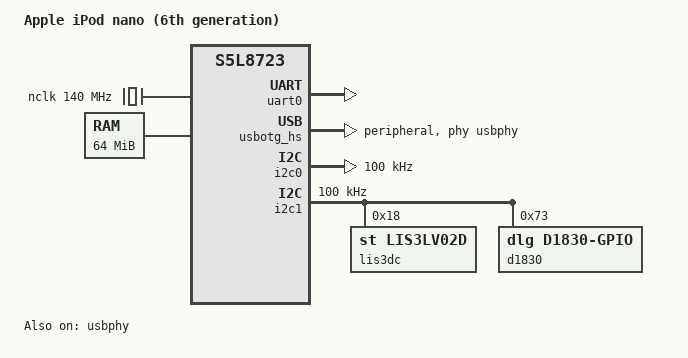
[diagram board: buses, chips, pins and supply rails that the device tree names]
// SPDX-License-Identifier: GPL-2.0+
/*
 * Apple S5L8723 SoC
 * Board name: N20
 * Product name: iPod nano (6th generation)
 */
/dts-v1/;

#include <dt-bindings/input/input.h>
#include <dt-bindings/gpio/gpio.h>
#include <dt-bindings/clock/samsung,s5l8702-clock.h>

/ {
    #address-cells = <1>;
    #size-cells = <1>;
    model = "Apple iPod nano (6th generation)";
    compatible = "apple,n20", "samsung,s5l8723";

    aliases {
        serial0 = &uart0;
        console = &uart0;
    };

    chosen {
        stdout-path = "serial0";
    };

    nclk: external_clock {
        compatible = "fixed-clock";
        #clock-cells = <0>;
        clock-frequency = <140000000>;
        clock-output-names = "nclk";
    };

    // pclk: clock-ref {
    //     compatible = "fixed-clock";
    //     #clock-cells = <0>;
    //     clock-frequency = <6000000>;
    //     clock-output-names = "pclk";
    // };

    cpus {
        #address-cells = <1>;
        #size-cells = <0>;

        cpu@0 {
            device_type = "cpu";
            reg = <0>;
            compatible = "arm,arm1176jzf-s";
        };
    };

    memory@8000000 {
        device_type = "memory";
        reg = <0x08000000 0x04000000>;
    };

    soc {
        compatible = "simple-bus";
        #address-cells = <1>;
        #size-cells = <1>;
        ranges;

        vic0: interrupt-controller@38e00000 {
            compatible = "arm,pl192-vic";
            interrupt-controller;
            reg = <0x38e00000 0x1000>;
            #interrupt-cells = <1>;
        };

        vic1: interrupt-controller@38e01000 {
            compatible = "arm,pl192-vic";
            interrupt-controller;
            reg = <0x38e01000 0x1000>;
            #interrupt-cells = <1>;
        };

        timer: timer@3c700000 {
            compatible = "samsung,s5l8720-timer";
            reg = <0x3c700000 0x20000>;
            interrupt-parent = <&vic0>;
            interrupts = <7>;
        };

        uart0: serial@3cc00000 {
            compatible = "apple,s5l-uart";
            reg = <0x3cc00000 0x3c>;
            clocks = <&nclk>, <&nclk>;
            clock-names = "uart", "clk_uart_baud0";
            reg-io-width = <4>;
            interrupt-parent = <&vic0>;
            interrupts = <24>;
            status = "okay";
        };

        usbphy: usbphy@3c400000 {
            compatible = "apple,s5l8702-otgphy";
            reg = <0x3c400000 0x100>;
            status = "okay";
            #phy-cells = <0>;
        };

        usbotg_hs: usb@38400000 {
            compatible = "apple,s5l87xx-usb";
            reg = <0x38400000 0x40000>;
            interrupt-parent = <&vic0>;
            interrupts = <19>;
            phys = <&usbphy>;
            phy-names = "usb2-phy";
            clocks = <&nclk>;
            clock-names = "otg";
            g-rx-fifo-size = <256>;
            g-np-tx-fifo-size = <32>;
            g-tx-fifo-size = <256 256 512 512 512 768 768>;
            status = "okay";
            dr_mode = "peripheral";
        };

        wdt: watchdog@3c800000 {
            compatible = "apple,s5l8723-syscon", "syscon", "simple-mfd";
            reg = <0x3c800000 0x8>;

            reboot: syscon-reboot@3c800000 {
                compatible = "syscon-reboot";
                offset = <0x0>;
                value = <0x100000>;
            };
        };

        i2c0: i2c@3c600000 {
            compatible = "samsung,s5l8702-i2c";
            reg = <0x3c600000 0x100>;
            clock-frequency = <100000>;  /* UPDATE ME */
            interrupt-parent = <&vic0>;
            interrupts = <21>;
            status = "okay";
        };

        i2c1: i2c@3c900000 {
            compatible = "samsung,s5l8702-i2c";
            #address-cells = <1>;
            #size-cells = <0>;
            reg = <0x3c900000 0x100>;
            clock-frequency = <100000>; /* UPDATE ME */
            interrupt-parent = <&vic0>;
            interrupts = <22>;
            status = "okay";

            lis3dc: lis331dlh@18 {
                compatible = "st,lis3lv02d";
                reg = <0x18>;
            };

            d1830: pmic@73 {
                compatible = "dlg,d1830-gpio";
                reg = <0x73>;
                gpio-controller;
                #gpio-cells = <2>;
                dlg,gpio-map = <0x07 4>, /* Home button */
                               <0x07 5>, /* Power button */
                               <0x08 1>; /* Play/pause button */
            };
        };

        clkctrl: clock-controller@3c500000 {
            compatible = "samsung,s5l8702-clock";
            reg = <0x3c500000 0x100>;

            #clock-cells = <1>;
        };

        sha1: sha1@38000000 {
            compatible = "samsung,s5l8702-sha1";
            reg = <0x38000000 0x100>;
            clocks = <&clkctrl CLK_SHA1>;
            clock-names = "sha1";
        };

        aes: aes@38c00000 {
            compatible = "samsung,s5l8702-aes";
            reg = <0x38c00000 0x100>;
            clocks = <&clkctrl CLK_AES>;
            clock-names = "aes";
        };

        prng: prng@3c100000 {
            compatible = "samsung,s5l8702-prng";
            reg = <0x3c100000 0x100>;
            clocks = <&clkctrl CLK_PRNG>;
            clock-names = "prng";
        };
    };
};
